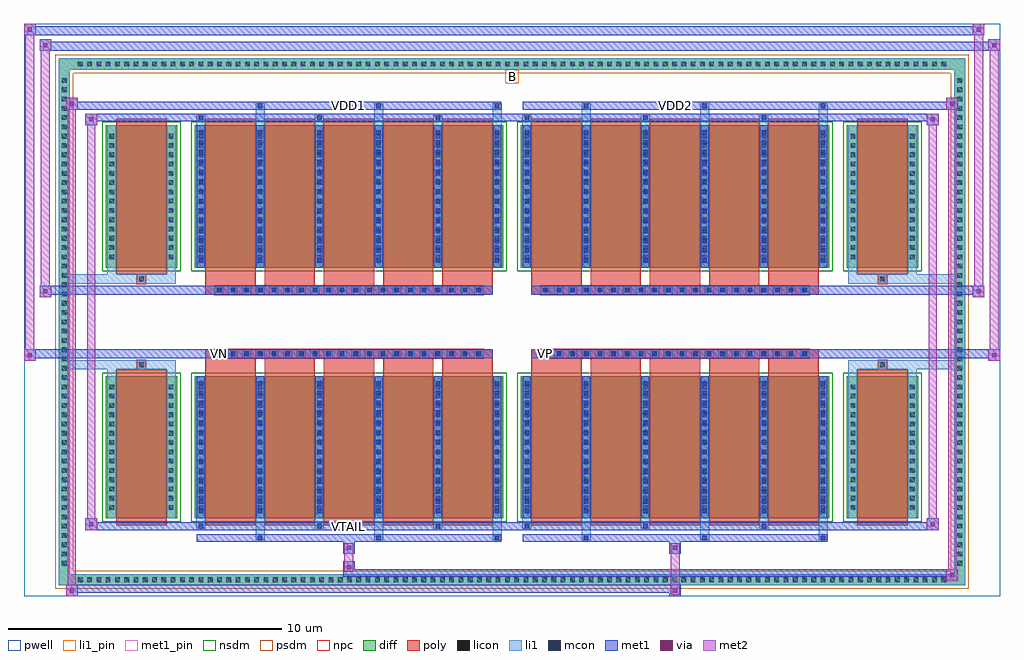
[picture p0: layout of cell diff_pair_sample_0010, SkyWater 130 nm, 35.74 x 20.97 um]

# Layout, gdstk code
import gdstk
lib = gdstk.Library(unit=1e-6, precision=5e-09)
def R(c, l, rs):  # rectangles x0, y0, x1, y1
    for r in rs: c.add(gdstk.rectangle(r[:2], r[2:], *l))
def A(c, l, x, y, w, h, nx, ny, dx, dy):  # array of equal rectangles
    R(c, l, [(x+i*dx, y+j*dy, x+i*dx+w, y+j*dy+h) for i in range(nx) for j in range(ny)])
def P(c, l, *ps):  # polygons
    for p in ps: c.add(gdstk.Polygon(p, *l))
pwell = (64, 44)
diff = (65, 20)
poly = (66, 20)
licon = (66, 44)
li1_pin = (67, 16)
li1 = (67, 20)
mcon = (67, 44)
met1_pin = (68, 16)
met1 = (68, 20)
via = (68, 44)
met2 = (69, 20)
nsdm = (93, 44)
psdm = (94, 20)
npc = (95, 20)

diff_pair_sample_0010 = lib.new_cell('diff_pair_sample_0010')
R(diff_pair_sample_0010, pwell, [(-17.87,-10.05,17.87,10.92), (-15.19,-8.24,-0.01,-0.8), (0.01,-8.24,15.19,-0.8), (-15.19,0.8,-0.01,8.24), (0.01,0.8,15.19,8.24)])
A(diff_pair_sample_0010, diff, -16.015, -9.65, 0.41, 0.41, 94, 2, 0.34, 18.89)
A(diff_pair_sample_0010, diff, -16.6, -9.045, 0.41, 0.41, 1, 53, 0, 0.34)
A(diff_pair_sample_0010, diff, 16.19, -9.045, 0.41, 0.41, 1, 53, 0, 0.34)
R(diff_pair_sample_0010, diff, [(-16.015,-9.65,16.015,-9.24), (-16.6,-9.045,-16.19,9.045), (16.19,-9.045,16.6,9.045), (-14.88,-7.195,-12.26,-1.985), (-11.62,-7.195,-0.32,-1.985), (0.32,-7.195,11.62,-1.985), (12.26,-7.195,14.88,-1.985), (-14.88,1.985,-12.26,7.195), (-11.62,1.985,-0.32,7.195), (0.32,1.985,11.62,7.195), (12.26,1.985,14.88,7.195), (-16.015,9.24,16.015,9.65)])
P(diff_pair_sample_0010, diff, [(16.6,9.65),(-16.6,9.65),(-16.6,-9.24),(-16.19,-9.24),(-16.19,9.24),(16.19,9.24),(16.19,-9.24),(-16.19,-9.24),(-16.6,-9.24),(-16.6,-9.65),(16.6,-9.65)])
A(diff_pair_sample_0010, poly, -11.23, -7.445, 1.84, 5.71, 5, 2, 2.17, 9.18)
A(diff_pair_sample_0010, poly, 0.71, -7.445, 1.84, 5.71, 5, 2, 2.17, 9.18)
A(diff_pair_sample_0010, poly, -11.23, -1.735, 1.84, 0.405, 5, 2, 2.17, 3.065)
A(diff_pair_sample_0010, poly, 0.71, -1.735, 1.84, 0.405, 5, 2, 2.17, 3.065)
A(diff_pair_sample_0010, poly, -10.885, -1.33, 0.33, 0.33, 20, 2, 0.5, 2.33)
A(diff_pair_sample_0010, poly, 1.055, -1.33, 0.33, 0.33, 20, 2, 0.5, 2.33)
R(diff_pair_sample_0010, poly, [(-14.49,-7.445,-12.65,-1.735), (12.65,-7.445,14.49,-1.735), (-13.735,-1.735,-13.405,-1.405), (-13.735,-1.735,-13.405,-1.405), (13.405,-1.735,13.735,-1.405), (13.405,-1.735,13.735,-1.405), (-11.23,-1.33,-0.71,-1), (0.71,-1.33,11.23,-1), (-11.23,1,-0.71,1.33), (0.71,1,11.23,1.33), (-13.735,1.405,-13.405,1.735), (-13.735,1.405,-13.405,1.735), (13.405,1.405,13.735,1.735), (13.405,1.405,13.735,1.735), (-14.49,1.735,-12.65,7.445), (12.65,1.735,14.49,7.445)])
A(diff_pair_sample_0010, licon, -15.895, -9.53, 0.17, 0.17, 94, 2, 0.34, 18.89)
A(diff_pair_sample_0010, licon, -16.48, -8.925, 0.17, 0.17, 1, 53, 0, 0.34)
A(diff_pair_sample_0010, licon, 16.31, -8.925, 0.17, 0.17, 1, 53, 0, 0.34)
A(diff_pair_sample_0010, licon, -14.74, -6.885, 0.17, 0.17, 1, 14, 0, 0.34)
A(diff_pair_sample_0010, licon, -12.57, -6.885, 0.17, 0.17, 1, 14, 0, 0.34)
A(diff_pair_sample_0010, licon, -11.48, -6.885, 0.17, 0.17, 6, 14, 2.17, 0.34)
A(diff_pair_sample_0010, licon, 0.46, -6.885, 0.17, 0.17, 6, 14, 2.17, 0.34)
A(diff_pair_sample_0010, licon, 12.4, -6.885, 0.17, 0.17, 1, 14, 0, 0.34)
A(diff_pair_sample_0010, licon, 14.57, -6.885, 0.17, 0.17, 1, 14, 0, 0.34)
A(diff_pair_sample_0010, licon, -10.805, -1.25, 0.17, 0.17, 20, 2, 0.5, 2.33)
A(diff_pair_sample_0010, licon, 1.135, -1.25, 0.17, 0.17, 20, 2, 0.5, 2.33)
A(diff_pair_sample_0010, licon, -14.74, 2.295, 0.17, 0.17, 1, 14, 0, 0.34)
A(diff_pair_sample_0010, licon, -12.57, 2.295, 0.17, 0.17, 1, 14, 0, 0.34)
A(diff_pair_sample_0010, licon, -11.48, 2.295, 0.17, 0.17, 6, 14, 2.17, 0.34)
A(diff_pair_sample_0010, licon, 0.46, 2.295, 0.17, 0.17, 6, 14, 2.17, 0.34)
A(diff_pair_sample_0010, licon, 12.4, 2.295, 0.17, 0.17, 1, 14, 0, 0.34)
A(diff_pair_sample_0010, licon, 14.57, 2.295, 0.17, 0.17, 1, 14, 0, 0.34)
R(diff_pair_sample_0010, licon, [(-13.655,-1.655,-13.485,-1.485), (13.485,-1.655,13.655,-1.485), (-13.655,1.485,-13.485,1.655), (13.485,1.485,13.655,1.655)])
R(diff_pair_sample_0010, li1_pin, [(-0.25,8.74,0.25,9.24)])
A(diff_pair_sample_0010, li1, -15.975, -9.61, 0.33, 0.33, 94, 2, 0.34, 18.89)
A(diff_pair_sample_0010, li1, -16.56, -9.005, 0.33, 0.33, 1, 53, 0, 0.34)
A(diff_pair_sample_0010, li1, 16.23, -9.005, 0.33, 0.33, 1, 53, 0, 0.34)
A(diff_pair_sample_0010, li1, -9.39, -8, 0.33, 0.805, 3, 2, 4.34, 15.195)
A(diff_pair_sample_0010, li1, -9.31, -8, 0.17, 0.17, 3, 2, 4.34, 15.83)
A(diff_pair_sample_0010, li1, 2.55, -8, 0.33, 0.805, 3, 2, 4.34, 15.195)
A(diff_pair_sample_0010, li1, 2.63, -8, 0.17, 0.17, 3, 2, 4.34, 15.83)
A(diff_pair_sample_0010, li1, -11.56, -7.57, 0.33, 0.375, 3, 2, 4.34, 14.765)
A(diff_pair_sample_0010, li1, -11.48, -7.57, 0.17, 0.17, 3, 2, 4.34, 14.97)
A(diff_pair_sample_0010, li1, 0.38, -7.57, 0.33, 0.375, 3, 2, 4.34, 14.765)
A(diff_pair_sample_0010, li1, 0.46, -7.57, 0.17, 0.17, 3, 2, 4.34, 14.97)
A(diff_pair_sample_0010, li1, -11.56, -7.195, 0.33, 5.21, 6, 2, 2.17, 9.18)
A(diff_pair_sample_0010, li1, 0.38, -7.195, 0.33, 5.21, 6, 2, 2.17, 9.18)
A(diff_pair_sample_0010, li1, -11.48, -7.015, 0.17, 0.17, 6, 14, 2.17, 0.36)
A(diff_pair_sample_0010, li1, -11.48, -7.015, 0.17, 4.85, 6, 2, 2.17, 9.18)
A(diff_pair_sample_0010, li1, 0.46, -7.015, 0.17, 0.17, 6, 14, 2.17, 0.36)
A(diff_pair_sample_0010, li1, 0.46, -7.015, 0.17, 4.85, 6, 2, 2.17, 9.18)
A(diff_pair_sample_0010, li1, -14.82, -6.965, 0.33, 0.33, 1, 14, 0, 0.34)
A(diff_pair_sample_0010, li1, -12.65, -6.965, 0.33, 0.33, 1, 14, 0, 0.34)
A(diff_pair_sample_0010, li1, -11.56, -6.965, 0.33, 0.33, 6, 14, 2.17, 0.34)
A(diff_pair_sample_0010, li1, 0.38, -6.965, 0.33, 0.33, 6, 14, 2.17, 0.34)
A(diff_pair_sample_0010, li1, 12.32, -6.965, 0.33, 0.33, 1, 14, 0, 0.34)
A(diff_pair_sample_0010, li1, 14.49, -6.965, 0.33, 0.33, 1, 14, 0, 0.34)
A(diff_pair_sample_0010, li1, -10.885, -1.33, 0.33, 0.33, 20, 2, 0.5, 2.33)
A(diff_pair_sample_0010, li1, 1.055, -1.33, 0.33, 0.33, 20, 2, 0.5, 2.33)
A(diff_pair_sample_0010, li1, -11.48, 2.165, 0.17, 0.17, 6, 14, 2.17, 0.36)
A(diff_pair_sample_0010, li1, 0.46, 2.165, 0.17, 0.17, 6, 14, 2.17, 0.36)
A(diff_pair_sample_0010, li1, -14.82, 2.215, 0.33, 0.33, 1, 14, 0, 0.34)
A(diff_pair_sample_0010, li1, -12.65, 2.215, 0.33, 0.33, 1, 14, 0, 0.34)
A(diff_pair_sample_0010, li1, -11.56, 2.215, 0.33, 0.33, 6, 14, 2.17, 0.34)
A(diff_pair_sample_0010, li1, 0.38, 2.215, 0.33, 0.33, 6, 14, 2.17, 0.34)
A(diff_pair_sample_0010, li1, 12.32, 2.215, 0.33, 0.33, 1, 14, 0, 0.34)
A(diff_pair_sample_0010, li1, 14.49, 2.215, 0.33, 0.33, 1, 14, 0, 0.34)
R(diff_pair_sample_0010, li1, [(-16.6,-9.65,-16.19,-9.24), (-16.6,-9.65,-16.19,-9.24), (-16.19,-9.65,16.19,-9.24), (16.19,-9.65,16.6,-9.24), (16.19,-9.65,16.6,-9.24), (-16.6,-9.24,-16.19,9.24), (16.19,-9.24,16.6,9.24), (-14.82,-7.195,-14.49,-1.985), (-12.65,-7.195,-12.32,-1.985), (12.32,-7.195,12.65,-1.985), (14.49,-7.195,14.82,-1.985), (-14.82,-1.985,-14.49,-1.405), (-12.65,-1.985,-12.32,-1.405), (12.32,-1.985,12.65,-1.405), (14.49,-1.985,14.82,-1.405), (-16.6,-1.735,-13.735,-1.405), (-14.82,-1.735,-13.735,-1.405), (-13.735,-1.735,-13.405,-1.405), (-13.405,-1.735,-12.32,-1.405), (12.32,-1.735,13.405,-1.405), (13.405,-1.735,13.735,-1.405), (13.405,-1.735,16.6,-1.405), (13.735,-1.735,14.82,-1.405), (-16.6,1.405,-13.735,1.735), (-14.82,1.405,-13.735,1.735), (-14.82,1.405,-14.49,1.985), (-13.735,1.405,-13.405,1.735), (-13.405,1.405,-12.32,1.735), (-12.65,1.405,-12.32,1.985), (12.32,1.405,13.405,1.735), (12.32,1.405,12.65,1.985), (13.405,1.405,13.735,1.735), (13.405,1.405,16.6,1.735), (13.735,1.405,14.82,1.735), (14.49,1.405,14.82,1.985), (-14.82,1.985,-14.49,7.195), (-12.65,1.985,-12.32,7.195), (12.32,1.985,12.65,7.195), (14.49,1.985,14.82,7.195), (-16.6,9.24,-16.19,9.65), (-16.6,9.24,-16.19,9.65), (-16.19,9.24,16.19,9.65), (16.19,9.24,16.6,9.65), (16.19,9.24,16.6,9.65)])
A(diff_pair_sample_0010, mcon, -9.31, -8, 0.17, 0.17, 3, 2, 4.34, 15.83)
A(diff_pair_sample_0010, mcon, 2.63, -8, 0.17, 0.17, 3, 2, 4.34, 15.83)
A(diff_pair_sample_0010, mcon, -11.48, -7.57, 0.17, 0.17, 3, 2, 4.34, 14.97)
A(diff_pair_sample_0010, mcon, 0.46, -7.57, 0.17, 0.17, 3, 2, 4.34, 14.97)
A(diff_pair_sample_0010, mcon, -11.48, -7.015, 0.17, 0.17, 6, 14, 2.17, 0.36)
A(diff_pair_sample_0010, mcon, 0.46, -7.015, 0.17, 0.17, 6, 14, 2.17, 0.36)
A(diff_pair_sample_0010, mcon, -10.805, -1.25, 0.17, 0.17, 20, 2, 0.5, 2.33)
A(diff_pair_sample_0010, mcon, 1.135, -1.25, 0.17, 0.17, 20, 2, 0.5, 2.33)
A(diff_pair_sample_0010, mcon, -11.48, 2.165, 0.17, 0.17, 6, 14, 2.17, 0.36)
A(diff_pair_sample_0010, mcon, 0.46, 2.165, 0.17, 0.17, 6, 14, 2.17, 0.36)
R(diff_pair_sample_0010, met1_pin, [(-6.105,-7.61,-5.835,-7.34), (-10.855,-1.29,-10.585,-1.02), (1.085,-1.29,1.355,-1.02), (-6.105,7.79,-5.835,8.06), (5.835,7.79,6.105,8.06)])
A(diff_pair_sample_0010, met1, -9.37, -8.06, 0.29, 0.29, 3, 2, 4.34, 15.83)
A(diff_pair_sample_0010, met1, 2.57, -8.06, 0.29, 0.29, 3, 2, 4.34, 15.83)
A(diff_pair_sample_0010, met1, -11.54, -7.63, 0.29, 0.29, 3, 2, 4.34, 14.97)
A(diff_pair_sample_0010, met1, 0.4, -7.63, 0.29, 0.29, 3, 2, 4.34, 14.97)
A(diff_pair_sample_0010, met1, -11.54, -7.195, 0.29, 5.21, 6, 2, 2.17, 9.18)
A(diff_pair_sample_0010, met1, 0.4, -7.195, 0.29, 5.21, 6, 2, 2.17, 9.18)
A(diff_pair_sample_0010, met1, -11.54, -7.075, 0.29, 0.29, 6, 14, 2.17, 0.36)
A(diff_pair_sample_0010, met1, 0.4, -7.075, 0.29, 0.29, 6, 14, 2.17, 0.36)
A(diff_pair_sample_0010, met1, -10.865, -1.31, 0.29, 0.29, 20, 2, 0.5, 2.33)
A(diff_pair_sample_0010, met1, 1.075, -1.31, 0.29, 0.29, 20, 2, 0.5, 2.33)
A(diff_pair_sample_0010, met1, -11.54, 2.105, 0.29, 0.29, 6, 14, 2.17, 0.36)
A(diff_pair_sample_0010, met1, 0.4, 2.105, 0.29, 0.29, 6, 14, 2.17, 0.36)
R(diff_pair_sample_0010, met1, [(-16.33,-10.05,-15.9,-9.62), (5.755,-10.05,6.185,-9.62), (-16.33,-9.91,6.185,-9.62), (15.9,-9.48,16.33,-9.05), (-6.185,-9.34,16.33,-9.05), (-6.185,-9.2,-5.755,-8.77), (-6.185,-8.49,-5.755,-8.06), (5.755,-8.49,6.185,-8.06), (-11.54,-8.06,-0.4,-7.77), (0.4,-8.06,11.54,-7.77), (-15.62,-7.63,-15.19,-7.2), (-15.62,-7.63,-11.54,-7.34), (-11.54,-7.63,-0.4,-7.34), (-0.4,-7.63,0.4,-7.34), (0.4,-7.63,11.54,-7.34), (11.54,-7.63,15.62,-7.34), (15.19,-7.63,15.62,-7.2), (-17.87,-1.43,-17.44,-1), (17.44,-1.43,17.87,-1), (-17.87,-1.33,-0.71,-1), (-11.23,-1.33,-0.71,-1), (0.71,-1.33,11.23,-1), (0.71,-1.33,17.87,-1), (-17.3,0.9,-16.87,1.33), (16.87,0.9,17.3,1.33), (-17.3,1,-11.23,1.33), (-11.23,1,-0.71,1.33), (0.71,1,11.23,1.33), (11.23,1,17.3,1.33), (-15.62,7.2,-15.19,7.63), (15.19,7.2,15.62,7.63), (-15.62,7.34,-11.54,7.63), (-11.54,7.34,-0.4,7.63), (-0.4,7.34,0.4,7.63), (0.4,7.34,11.54,7.63), (11.54,7.34,15.62,7.63), (-16.33,7.77,-15.9,8.2), (-16.33,7.77,-11.54,8.06), (-11.54,7.77,-0.4,8.06), (0.4,7.77,11.54,8.06), (11.54,7.77,16.33,8.06), (15.9,7.77,16.33,8.2), (-17.3,9.92,-16.87,10.35), (-17.3,9.92,-15.19,10.25), (-15.19,9.92,15.19,10.25), (15.19,9.92,17.87,10.25), (17.44,9.92,17.87,10.35), (-17.87,10.49,-17.44,10.92), (-17.87,10.49,-15.19,10.82), (-15.19,10.49,15.19,10.82), (15.19,10.49,17.3,10.82), (16.87,10.49,17.3,10.92)])
R(diff_pair_sample_0010, via, [(-16.19,-9.91,-16.04,-9.76), (5.895,-9.91,6.045,-9.76), (16.04,-9.34,16.19,-9.19), (-6.045,-9.06,-5.895,-8.91), (-6.045,-8.35,-5.895,-8.2), (5.895,-8.35,6.045,-8.2), (-15.48,-7.49,-15.33,-7.34), (15.33,-7.49,15.48,-7.34), (-17.73,-1.29,-17.58,-1.14), (17.58,-1.29,17.73,-1.14), (-17.16,1.04,-17.01,1.19), (17.01,1.04,17.16,1.19), (-15.48,7.34,-15.33,7.49), (15.33,7.34,15.48,7.49), (-16.19,7.91,-16.04,8.06), (16.04,7.91,16.19,8.06), (-17.16,10.06,-17.01,10.21), (17.58,10.06,17.73,10.21), (-17.73,10.63,-17.58,10.78), (17.01,10.63,17.16,10.78)])
R(diff_pair_sample_0010, met2, [(-16.33,-10.05,-15.9,-9.62), (-16.26,-10.05,-15.97,8.2), (-15.97,-10.05,-15.9,-9.62), (-16.28,-10,-15.95,-9.67), (5.805,-10,6.135,-9.67), (5.805,-9.67,6.135,-8.44), (15.9,-9.48,16.33,-9.05), (15.97,-9.48,16.26,8.2), (16.26,-9.48,16.33,-9.05), (15.95,-9.43,16.28,-9.1), (-6.135,-9.15,-5.805,-8.82), (-6.135,-8.82,-5.805,-8.44), (-6.135,-8.44,-5.805,-8.11), (5.805,-8.44,6.135,-8.11), (-15.62,-7.63,-15.19,-7.2), (-15.55,-7.63,-15.26,7.63), (-15.26,-7.63,-15.19,-7.2), (15.19,-7.63,15.62,-7.2), (15.26,-7.63,15.55,7.63), (15.55,-7.63,15.62,-7.2), (-15.57,-7.58,-15.24,-7.25), (15.24,-7.58,15.57,-7.25), (-17.87,-1.43,-17.44,-1), (-17.82,-1.43,-17.49,10.92), (-17.49,-1.43,-17.44,-1), (17.44,-1.43,17.87,-1), (17.49,-1.43,17.82,10.35), (17.82,-1.43,17.87,-1), (-17.82,-1.38,-17.49,-1.05), (17.49,-1.38,17.82,-1.05), (-17.3,0.9,-16.87,1.33), (-17.25,0.9,-16.92,10.35), (-16.92,0.9,-16.87,1.33), (16.87,0.9,17.3,1.33), (16.92,0.9,17.25,10.92), (17.25,0.9,17.3,1.33), (-17.25,0.95,-16.92,1.28), (16.92,0.95,17.25,1.28), (-15.62,7.2,-15.19,7.63), (-15.26,7.2,-15.19,7.63), (15.19,7.2,15.62,7.63), (15.55,7.2,15.62,7.63), (-15.57,7.25,-15.24,7.58), (15.24,7.25,15.57,7.58), (-16.33,7.77,-15.9,8.2), (-15.97,7.77,-15.9,8.2), (15.9,7.77,16.33,8.2), (16.26,7.77,16.33,8.2), (-16.28,7.82,-15.95,8.15), (15.95,7.82,16.28,8.15), (-17.3,9.92,-16.87,10.35), (-16.92,9.92,-16.87,10.35), (17.44,9.92,17.87,10.35), (17.82,9.92,17.87,10.35), (-17.25,9.97,-16.92,10.3), (17.49,9.97,17.82,10.3), (-17.87,10.49,-17.44,10.92), (-17.49,10.49,-17.44,10.92), (16.87,10.49,17.3,10.92), (17.25,10.49,17.3,10.92), (-17.82,10.54,-17.49,10.87), (16.92,10.54,17.25,10.87)])
R(diff_pair_sample_0010, nsdm, [(-15.01,-7.325,-12.13,-1.855), (-11.75,-7.325,-0.19,-1.855), (0.19,-7.325,11.75,-1.855), (12.13,-7.325,15.01,-1.855), (-15.01,1.855,-12.13,7.325), (-11.75,1.855,-0.19,7.325), (0.19,1.855,11.75,7.325), (12.13,1.855,15.01,7.325)])
P(diff_pair_sample_0010, psdm, [(16.73,9.78),(-16.73,9.78),(-16.73,-9.11),(-16.06,-9.11),(-16.06,9.11),(16.06,9.11),(16.06,-9.11),(-16.06,-9.11),(-16.73,-9.11),(-16.73,-9.78),(16.73,-9.78)])
A(diff_pair_sample_0010, npc, -10.905, -1.35, 0.37, 0.37, 20, 2, 0.5, 2.33)
A(diff_pair_sample_0010, npc, 1.035, -1.35, 0.37, 0.37, 20, 2, 0.5, 2.33)
R(diff_pair_sample_0010, npc, [(-13.755,-1.755,-13.385,-1.385), (13.385,-1.755,13.755,-1.385), (-10.905,-1.35,-10.035,-0.98), (-10.905,-1.35,-10.035,-0.98), (-10.405,-1.35,-9.535,-0.98), (-10.405,-1.35,-9.535,-0.98), (-9.905,-1.35,-9.035,-0.98), (-9.905,-1.35,-9.035,-0.98), (-9.405,-1.35,-8.535,-0.98), (-9.405,-1.35,-8.535,-0.98), (-8.905,-1.35,-8.035,-0.98), (-8.905,-1.35,-8.035,-0.98), (-8.405,-1.35,-7.535,-0.98), (-8.405,-1.35,-7.535,-0.98), (-7.905,-1.35,-7.035,-0.98), (-7.905,-1.35,-7.035,-0.98), (-7.405,-1.35,-6.535,-0.98), (-7.405,-1.35,-6.535,-0.98), (-6.905,-1.35,-6.035,-0.98), (-6.905,-1.35,-6.035,-0.98), (-6.405,-1.35,-5.535,-0.98), (-6.405,-1.35,-5.535,-0.98), (-5.905,-1.35,-5.035,-0.98), (-5.905,-1.35,-5.035,-0.98), (-5.405,-1.35,-4.535,-0.98), (-5.405,-1.35,-4.535,-0.98), (-4.905,-1.35,-4.035,-0.98), (-4.905,-1.35,-4.035,-0.98), (-4.405,-1.35,-3.535,-0.98), (-4.405,-1.35,-3.535,-0.98), (-3.905,-1.35,-3.035,-0.98), (-3.905,-1.35,-3.035,-0.98), (-3.405,-1.35,-2.535,-0.98), (-3.405,-1.35,-2.535,-0.98), (-2.905,-1.35,-2.035,-0.98), (-2.905,-1.35,-2.035,-0.98), (-2.405,-1.35,-1.535,-0.98), (-2.405,-1.35,-1.535,-0.98), (-1.905,-1.35,-1.035,-0.98), (-1.905,-1.35,-1.035,-0.98), (1.035,-1.35,1.905,-0.98), (1.035,-1.35,1.905,-0.98), (1.535,-1.35,2.405,-0.98), (1.535,-1.35,2.405,-0.98), (2.035,-1.35,2.905,-0.98), (2.035,-1.35,2.905,-0.98), (2.535,-1.35,3.405,-0.98), (2.535,-1.35,3.405,-0.98), (3.035,-1.35,3.905,-0.98), (3.035,-1.35,3.905,-0.98), (3.535,-1.35,4.405,-0.98), (3.535,-1.35,4.405,-0.98), (4.035,-1.35,4.905,-0.98), (4.035,-1.35,4.905,-0.98), (4.535,-1.35,5.405,-0.98), (4.535,-1.35,5.405,-0.98), (5.035,-1.35,5.905,-0.98), (5.035,-1.35,5.905,-0.98), (5.535,-1.35,6.405,-0.98), (5.535,-1.35,6.405,-0.98), (6.035,-1.35,6.905,-0.98), (6.035,-1.35,6.905,-0.98), (6.535,-1.35,7.405,-0.98), (6.535,-1.35,7.405,-0.98), (7.035,-1.35,7.905,-0.98), (7.035,-1.35,7.905,-0.98), (7.535,-1.35,8.405,-0.98), (7.535,-1.35,8.405,-0.98), (8.035,-1.35,8.905,-0.98), (8.035,-1.35,8.905,-0.98), (8.535,-1.35,9.405,-0.98), (8.535,-1.35,9.405,-0.98), (9.035,-1.35,9.905,-0.98), (9.035,-1.35,9.905,-0.98), (9.535,-1.35,10.405,-0.98), (9.535,-1.35,10.405,-0.98), (10.035,-1.35,10.905,-0.98), (10.035,-1.35,10.905,-0.98), (-10.905,0.98,-10.035,1.35), (-10.905,0.98,-10.035,1.35), (-10.405,0.98,-9.535,1.35), (-10.405,0.98,-9.535,1.35), (-9.905,0.98,-9.035,1.35), (-9.905,0.98,-9.035,1.35), (-9.405,0.98,-8.535,1.35), (-9.405,0.98,-8.535,1.35), (-8.905,0.98,-8.035,1.35), (-8.905,0.98,-8.035,1.35), (-8.405,0.98,-7.535,1.35), (-8.405,0.98,-7.535,1.35), (-7.905,0.98,-7.035,1.35), (-7.905,0.98,-7.035,1.35), (-7.405,0.98,-6.535,1.35), (-7.405,0.98,-6.535,1.35), (-6.905,0.98,-6.035,1.35), (-6.905,0.98,-6.035,1.35), (-6.405,0.98,-5.535,1.35), (-6.405,0.98,-5.535,1.35), (-5.905,0.98,-5.035,1.35), (-5.905,0.98,-5.035,1.35), (-5.405,0.98,-4.535,1.35), (-5.405,0.98,-4.535,1.35), (-4.905,0.98,-4.035,1.35), (-4.905,0.98,-4.035,1.35), (-4.405,0.98,-3.535,1.35), (-4.405,0.98,-3.535,1.35), (-3.905,0.98,-3.035,1.35), (-3.905,0.98,-3.035,1.35), (-3.405,0.98,-2.535,1.35), (-3.405,0.98,-2.535,1.35), (-2.905,0.98,-2.035,1.35), (-2.905,0.98,-2.035,1.35), (-2.405,0.98,-1.535,1.35), (-2.405,0.98,-1.535,1.35), (-1.905,0.98,-1.035,1.35), (-1.905,0.98,-1.035,1.35), (1.035,0.98,1.905,1.35), (1.035,0.98,1.905,1.35), (1.535,0.98,2.405,1.35), (1.535,0.98,2.405,1.35), (2.035,0.98,2.905,1.35), (2.035,0.98,2.905,1.35), (2.535,0.98,3.405,1.35), (2.535,0.98,3.405,1.35), (3.035,0.98,3.905,1.35), (3.035,0.98,3.905,1.35), (3.535,0.98,4.405,1.35), (3.535,0.98,4.405,1.35), (4.035,0.98,4.905,1.35), (4.035,0.98,4.905,1.35), (4.535,0.98,5.405,1.35), (4.535,0.98,5.405,1.35), (5.035,0.98,5.905,1.35), (5.035,0.98,5.905,1.35), (5.535,0.98,6.405,1.35), (5.535,0.98,6.405,1.35), (6.035,0.98,6.905,1.35), (6.035,0.98,6.905,1.35), (6.535,0.98,7.405,1.35), (6.535,0.98,7.405,1.35), (7.035,0.98,7.905,1.35), (7.035,0.98,7.905,1.35), (7.535,0.98,8.405,1.35), (7.535,0.98,8.405,1.35), (8.035,0.98,8.905,1.35), (8.035,0.98,8.905,1.35), (8.535,0.98,9.405,1.35), (8.535,0.98,9.405,1.35), (9.035,0.98,9.905,1.35), (9.035,0.98,9.905,1.35), (9.535,0.98,10.405,1.35), (9.535,0.98,10.405,1.35), (10.035,0.98,10.905,1.35), (10.035,0.98,10.905,1.35), (-13.755,1.385,-13.385,1.755), (13.385,1.385,13.755,1.755)])
diff_pair_sample_0010.add(gdstk.Label('VTAIL', (-5.97,-7.475), layer=68, texttype=5))
diff_pair_sample_0010.add(gdstk.Label('VN', (-10.72,-1.155), layer=68, texttype=5))
diff_pair_sample_0010.add(gdstk.Label('VP', (1.22,-1.155), layer=68, texttype=5))
diff_pair_sample_0010.add(gdstk.Label('B', (0,8.99), layer=67, texttype=5))
diff_pair_sample_0010.add(gdstk.Label('VDD2', (5.97,7.925), layer=68, texttype=5))
diff_pair_sample_0010.add(gdstk.Label('VDD1', (-5.97,7.925), layer=68, texttype=5))

lib.write_gds('diff_pair_sample_0010.gds')
